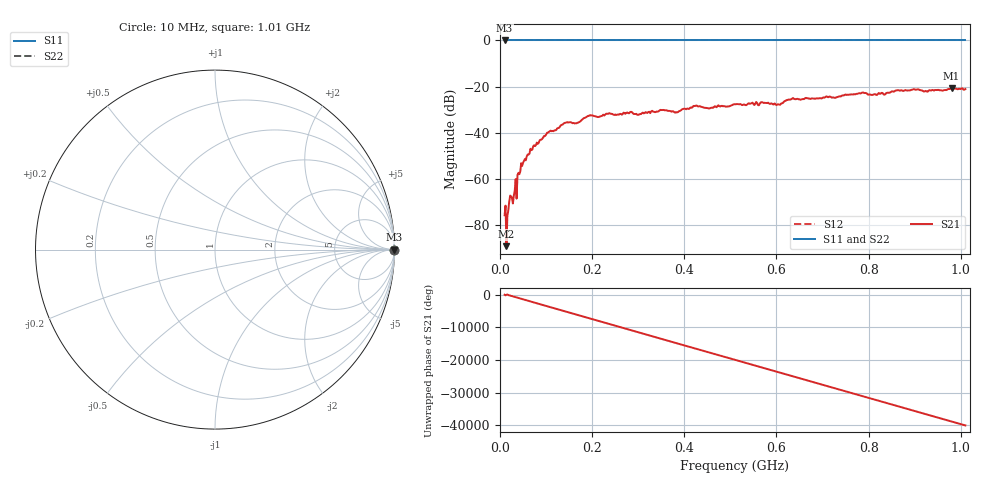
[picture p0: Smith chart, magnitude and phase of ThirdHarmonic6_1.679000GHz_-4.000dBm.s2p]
! 8/16/2025 8:08:36 PM
! C:\ANRITSUVNA\TEMP\TEMP.S2P
! CHANNEL.1
! TR.MEASUREMENT
! RAW.DATA
! RF.CORRECTION.OFF
! AVERAGING.OFF
! IF.BANDWIDTH: 5KHZ
! SWEEPTYPE:  FREQ.SWEEP(Linear)
! Reference Plane Port Info
! PORT:  PORT1  PORT2
! DISTANCE:  0  m  0  m
! TIME:  0  s  0  s
! PHASE.OFFSET:  0  deg.  0  deg.
! LOSS:  0  dB  0  dB
! REF.LOSS:  0  dB  0  dB
! REF.FREQ:  0  Hz  0  Hz
! Power Info
! POWER:  -20  dBm  -20  dBm
! EFF.POWER:  -20  dBm  -20  dBm
! SOURCE.ATTEN:  0  dB  0  dB
! TEST.ATTEN:  0  dB  0  dB
# GHZ S RI R 50.0
! FREQ.GHZ  S11RE  S11IM  S21RE  S21IM  S12RE  S12IM  S22RE  S22IM
!; PortSelection: Port_12
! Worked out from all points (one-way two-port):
!   501 points, 10 MHz to 1.01 GHz, reference 50 ohm
!   highest |S21| = -20.69 dB at 980 MHz (marker M1); lowest = -89.1 dB at 14 MHz (marker M2)
!   lowest |S11| = 0.0 dB at 10 MHz (marker M3)
!   |S11| at or under -10 dB: nowhere
!   |S22| runs from 0.0 to 0.0 dB; largest |S21 - S12| = 1.1
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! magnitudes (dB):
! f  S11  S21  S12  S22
! 10 MHz  0.0  -75.7  0.0  0.0
! 14 MHz  0.0  -89.1  0.0  0.0
! 22 MHz  0.0  -67.2  0.0  0.0
! 32 MHz  0.0  -65.1  0.0  0.0
! 40 MHz  0.0  -57.3  0.0  0.0
! 42 MHz  0.0  -57.9  0.0  0.0
! 70 MHz  0.0  -47.3  0.0  0.0
! 106 MHz  0.0  -39.6  0.0  0.0
! 142 MHz  0.0  -35.6  0.0  0.0
! 178 MHz  0.0  -34.3  0.0  0.0
! 196 MHz  0.0  -32.3  0.0  0.0
! 344 MHz  0.0  -30.7  0.0  0.0
! 382 MHz  0.0  -31.0  0.0  0.0
! 424 MHz  0.0  -28.4  0.0  0.0
! 454 MHz  0.0  -29.5  0.0  0.0
! 510 MHz  0.0  -27.6  0.0  0.0
! 604 MHz  0.0  -27.7  0.0  0.0
! 634 MHz  0.0  -25.2  0.0  0.0
! 678 MHz  0.0  -25.1  0.0  0.0
! 844 MHz  0.0  -22.7  0.0  0.0
! 980 MHz  0.0  -20.7  0.0  0.0
! 1.01 GHz  0.0  -21.0  0.0  0.0
